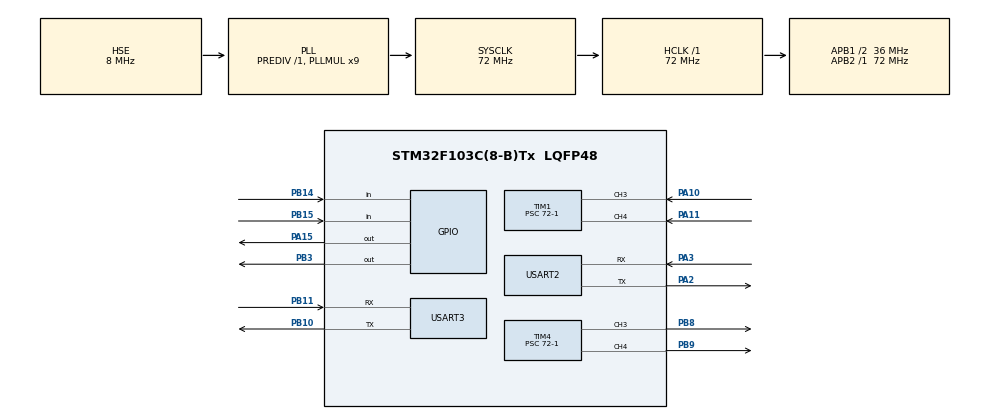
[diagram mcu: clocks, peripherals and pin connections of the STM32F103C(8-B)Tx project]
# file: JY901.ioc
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Dma.Request0=USART2_RX
Dma.USART2_RX.0.Direction=DMA_PERIPH_TO_MEMORY
Dma.USART2_RX.0.Instance=DMA1_Channel6
Dma.USART2_RX.0.MemDataAlignment=DMA_MDATAALIGN_BYTE
Dma.USART2_RX.0.MemInc=DMA_MINC_ENABLE
Dma.USART2_RX.0.Mode=DMA_NORMAL
Dma.USART2_RX.0.PeriphDataAlignment=DMA_PDATAALIGN_BYTE
Dma.USART2_RX.0.PeriphInc=DMA_PINC_DISABLE
Dma.USART2_RX.0.Priority=DMA_PRIORITY_LOW
Mcu.Family=STM32F1
Mcu.Name=STM32F103C(8-B)Tx
Mcu.Package=LQFP48
NVIC.DMA1_Channel6_IRQn=true\:0\:0\:false\:false\:true\:true\:true\:true
NVIC.PriorityGroup=NVIC_PRIORITYGROUP_4
NVIC.TIM1_CC_IRQn=true\:1\:0\:true\:false\:true\:true\:true\:true
NVIC.TIM3_IRQn=true\:0\:0\:false\:false\:true\:true\:true\:true
NVIC.USART2_IRQn=true\:0\:0\:false\:false\:true\:true\:true\:true
NVIC.USART3_IRQn=true\:0\:0\:false\:false\:true\:true\:true\:true
PA10.Signal=S_TIM1_CH3
PA11.Signal=S_TIM1_CH4
PA13.Mode=Serial_Wire
PA13.Signal=SYS_JTMS-SWDIO
PA14.Mode=Serial_Wire
PA14.Signal=SYS_JTCK-SWCLK
PA15.Signal=GPIO_Output
PA2.Mode=Asynchronous
PA2.Signal=USART2_TX
PA3.Mode=Asynchronous
PA3.Signal=USART2_RX
PB10.Mode=Asynchronous
PB10.Signal=USART3_TX
PB11.Mode=Asynchronous
PB11.Signal=USART3_RX
PB14.Signal=GPIO_Input
PB15.Signal=GPIO_Input
PB3.Signal=GPIO_Output
PB8.Signal=S_TIM4_CH3
PB9.Signal=S_TIM4_CH4
PC14-OSC32_IN.Mode=LSE-External-Oscillator
PC14-OSC32_IN.Signal=RCC_OSC32_IN
PC15-OSC32_OUT.Mode=LSE-External-Oscillator
PC15-OSC32_OUT.Signal=RCC_OSC32_OUT
PD0-OSC_IN.Mode=HSE-External-Oscillator
PD0-OSC_IN.Signal=RCC_OSC_IN
PD1-OSC_OUT.Mode=HSE-External-Oscillator
PD1-OSC_OUT.Signal=RCC_OSC_OUT
ProjectManager.HeapSize=0x200
ProjectManager.StackSize=0x400
ProjectManager.TargetToolchain=MDK-ARM V5.32
RCC.AHBFreq_Value=72000000
RCC.APB1CLKDivider=RCC_HCLK_DIV2
RCC.APB1Freq_Value=36000000
RCC.APB1TimFreq_Value=72000000
RCC.APB2Freq_Value=72000000
RCC.APB2TimFreq_Value=72000000
RCC.HCLKFreq_Value=72000000
RCC.PLLMUL=RCC_PLL_MUL9
RCC.PLLSourceVirtual=RCC_PLLSOURCE_HSE
RCC.SYSCLKFreq_VALUE=72000000
RCC.SYSCLKSource=RCC_SYSCLKSOURCE_PLLCLK
RCC.USBFreq_Value=72000000
SH.S_TIM1_CH3.0=TIM1_CH3,Input_Capture3_from_TI3
SH.S_TIM1_CH4.0=TIM1_CH4,Input_Capture4_from_TI4
SH.S_TIM4_CH3.0=TIM4_CH3,PWM Generation3 CH3
SH.S_TIM4_CH4.0=TIM4_CH4,PWM Generation4 CH4
TIM1.Channel-Input_Capture3_from_TI3=TIM_CHANNEL_3
TIM1.Channel-Input_Capture4_from_TI4=TIM_CHANNEL_4
TIM1.Period=0xffff
TIM1.Prescaler=72-1
TIM3.Period=10000
TIM3.Prescaler=720-1
TIM4.Channel-PWM\ Generation3\ CH3=TIM_CHANNEL_3
TIM4.Channel-PWM\ Generation4\ CH4=TIM_CHANNEL_4
TIM4.Period=1000
TIM4.Prescaler=72-1
USART2.StopBits=STOPBITS_2
USART2.VirtualMode=VM_ASYNC
USART3.VirtualMode=VM_ASYNC
VP_TIM3_VS_ClockSourceINT.Mode=Internal
board=custom

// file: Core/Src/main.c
/* USER CODE BEGIN Header */
/**
  ******************************************************************************
  * @file           : main.c
  * @brief          : Main program body
  ******************************************************************************
  * @attention
  *
  * Copyright (c) 2022 STMicroelectronics.
  * All rights reserved.
  *
  * This software is licensed under terms that can be found in the LICENSE file
  * in the root directory of this software component.
  * If no LICENSE file comes with this software, it is provided AS-IS.
  *
  ******************************************************************************
  */
/* USER CODE END Header */
#include "main.h"
#include "dma.h"
#include "tim.h"
#include "usart.h"
#include "gpio.h"

/* USER CODE BEGIN Includes */
#include "stdio.h"
#include "string.h"
#include "jy901.h"
#include "encoder.h"
#include "pid.h"

extern struct User_USART JY901_data;
extern struct _Motor motor1;
extern struct _Motor motor2;
extern struct _PID pid1;//w3
extern struct _PID pid2;//w4

//User_USART JY901_data;

int fputc(int ch, FILE *f)
{
  HAL_UART_Transmit(&huart3, (uint8_t *)&ch, 1, 0xffff);
  return ch;
}

/* USER CODE END Includes */

void SystemClock_Config(void);

int main(void)
{

  /* MCU Configuration--------------------------------------------------------*/

  /* Reset of all peripherals, Initializes the Flash interface and the Systick. */
  HAL_Init();

  /* USER CODE BEGIN Init */
	PID_Init(&pid1,3);
	PID_Init(&pid2,4);
	motor1.speed = 0;
	motor2.speed = 0;

  /* USER CODE END Init */

  /* Configure the system clock */
  SystemClock_Config();

  /* Initialize all configured peripherals */
  MX_GPIO_Init();
  MX_DMA_Init();
  MX_USART2_UART_Init();
  MX_TIM1_Init();
  MX_TIM4_Init();
  MX_TIM3_Init();
  MX_USART3_UART_Init();
  /* USER CODE BEGIN 2 */
  User_USART_Init(&JY901_data);
  __HAL_UART_ENABLE_IT(&huart2,UART_IT_IDLE);
	HAL_UART_Receive_DMA(&huart2,JY901_data.RxBuffer,RXBUFFER_LEN);
	HAL_TIM_PWM_Start(&htim4,TIM_CHANNEL_3);
	HAL_TIM_PWM_Start(&htim4,TIM_CHANNEL_4);
	HAL_TIM_IC_Start_IT(&htim1,TIM_CHANNEL_3);
	HAL_TIM_IC_Start_IT(&htim1,TIM_CHANNEL_4);
	HAL_TIM_Base_Start_IT(&GAP_TIM);

	//HAL_GPIO_WritePin(GPIOA,GPIO_PIN_15,1);//w3_right_0 is forward,1_is_back
	//__HAL_TIM_SetCompare(&htim4, TIM_CHANNEL_4, 300);

  /* USER CODE END 2 */

  /* Infinite loop */
  while (1)
  {

    /* USER CODE BEGIN 3 */

	  //printf("%f\n",motor1.speed);
	  //printf("%f\n",motor2.speed);

//	HAL_Delay(50);
//	JY901_Process();
//	printf("%f\n",JY901_data.angle.angle[0]);
//	printf("%f",JY901_data.angle.angle[1]);
//	printf("%f",JY901_data.angle.angle[2]);

//	printf("123\n");
//	HAL_Delay(1000);

  }
  /* USER CODE END 3 */
}

void SystemClock_Config(void)
{
  RCC_OscInitTypeDef RCC_OscInitStruct = {0};
  RCC_ClkInitTypeDef RCC_ClkInitStruct = {0};

  /** Initializes the RCC Oscillators according to the specified parameters
  * in the RCC_OscInitTypeDef structure.
  */
  RCC_OscInitStruct.OscillatorType = RCC_OSCILLATORTYPE_HSE;
  RCC_OscInitStruct.HSEState = RCC_HSE_ON;
  RCC_OscInitStruct.HSEPredivValue = RCC_HSE_PREDIV_DIV1;
  RCC_OscInitStruct.HSIState = RCC_HSI_ON;
  RCC_OscInitStruct.PLL.PLLState = RCC_PLL_ON;
  RCC_OscInitStruct.PLL.PLLSource = RCC_PLLSOURCE_HSE;
  RCC_OscInitStruct.PLL.PLLMUL = RCC_PLL_MUL9;
  if (HAL_RCC_OscConfig(&RCC_OscInitStruct) != HAL_OK)
  {
    Error_Handler();
  }

  /** Initializes the CPU, AHB and APB buses clocks
  */
  RCC_ClkInitStruct.ClockType = RCC_CLOCKTYPE_HCLK|RCC_CLOCKTYPE_SYSCLK
                              |RCC_CLOCKTYPE_PCLK1|RCC_CLOCKTYPE_PCLK2;
  RCC_ClkInitStruct.SYSCLKSource = RCC_SYSCLKSOURCE_PLLCLK;
  RCC_ClkInitStruct.AHBCLKDivider = RCC_SYSCLK_DIV1;
  RCC_ClkInitStruct.APB1CLKDivider = RCC_HCLK_DIV2;
  RCC_ClkInitStruct.APB2CLKDivider = RCC_HCLK_DIV1;

  if (HAL_RCC_ClockConfig(&RCC_ClkInitStruct, FLASH_LATENCY_2) != HAL_OK)
  {
    Error_Handler();
  }
}

/* USER CODE BEGIN 4 */
void HAL_TIM_IC_CaptureCallback(TIM_HandleTypeDef *htim)//输入捕获中断
{
	int judge3,judge4;//判断轮子正向或反向转
	static float catch3[3],catch4[3];//存储输入捕获的值 0：上一次上跳沿的定时器的值  1：这一次上跳沿定时器的值   2：两次上跳沿定时器值之差
	if(htim==&htim1&&htim->Channel == HAL_TIM_ACTIVE_CHANNEL_3)//轮3编码器是否输出上跳沿
	{
//		printf("1");
		judge3=HAL_GPIO_ReadPin(GPIOB,GPIO_PIN_3);//判断轮3 GPIO的高低电平来判断轮子旋转方向
		catch3[1]=HAL_TIM_ReadCapturedValue(htim,TIM_CHANNEL_3);//捕获编码器输入上跳沿时定时器通道3的值
//		printf("%f\t",catch3[1]);
		catch3[2] = catch3[1] - catch3[0];//计算得到两次上跳沿定时器值的差
		catch3[0] = catch3[1];//将这一次上跳沿的值赋给上一次
		if(catch3[2]<0)
		{
			catch3[2]+=0xffff;//消除差值中的负数
		}
		if(judge3==0)
		{
			motor1.speed = 532.236/catch3[2];//532.236计算轮3速度2661.18
		}
		if(judge3==1)
		{
			motor1.speed = -532.236/catch3[2];//计算轮3速度
		}
	}
   if(htim==&htim1&&htim->Channel == HAL_TIM_ACTIVE_CHANNEL_4)//轮4编码器是否输出上跳沿
	{
//		printf("1");
		judge4=HAL_GPIO_ReadPin(GPIOA,GPIO_PIN_15);//判断轮4 GPIO的高低电平来判断轮子旋转方向
		catch4[1]=HAL_TIM_ReadCapturedValue(htim,TIM_CHANNEL_4);//捕获编码器输入上跳沿时定时器通道4的值
//		printf("%f\t",catch3[1]);
		catch4[2] = catch4[1] - catch4[0];//计算得到两次上跳沿定时器值的差
		catch4[0] = catch4[1];//将这一次上跳沿的值赋给上一次
		if(catch4[2]<0)
		{
			catch4[2]+=0xffff;//消除差值中的负数
		}
		if(judge4==1)
		{
			motor2.speed = 532.236/catch4[2];//计算轮3速度//532.236
		}
		if(judge4==0)
		{
			motor2.speed = -532.236/catch4[2];//计算轮3速度
		}
	}

//	printf("%f\t",catch3[2]);
//	printf("%f\t",catch4[2]);
}

/* USER CODE END 4 */

void Error_Handler(void)
{
  __disable_irq();
  while (1)
  {
  }
}
